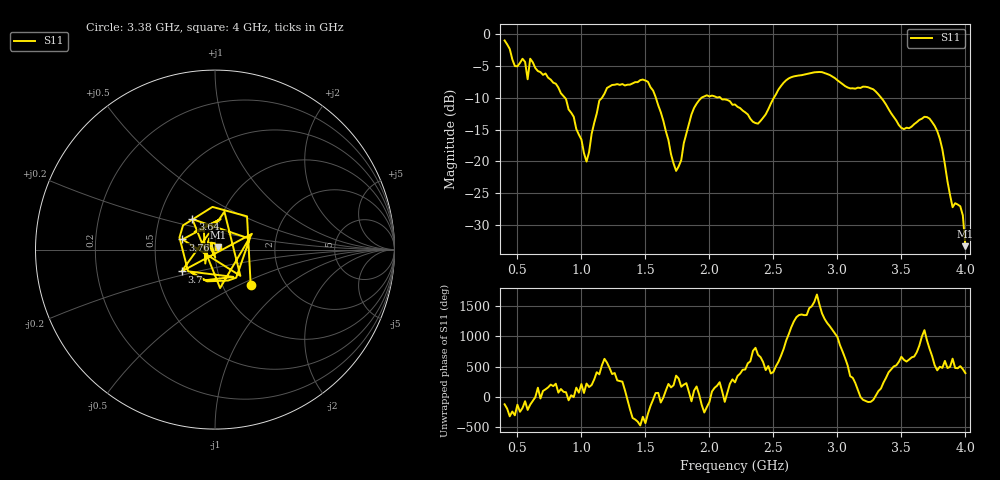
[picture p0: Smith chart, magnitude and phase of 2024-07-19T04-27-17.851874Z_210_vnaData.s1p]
!Created with skrf (http://scikit-rf.org).
# Hz S RI R 50.0
!freq ReS11 ImS11
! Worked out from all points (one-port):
!   181 points, 400 MHz to 4 GHz, reference 50 ohm
!   lowest |S11| = -33.3 dB at 4 GHz (marker M1), VSWR 1.04, Z = 51.8 + j1.23 ohm
!   |S11| at or under -10 dB: 1.581 GHz to 1.939 GHz (358.1 MHz wide, 20.3 % of centre); 2.085 GHz to 2.505 GHz (419.7 MHz wide, 18.3 % of centre); 3.341 GHz to end of sweep (the widest 3 of 4)
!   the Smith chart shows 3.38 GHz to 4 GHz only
!   S11 on the Smith chart (normalised r, x): 3.38 GHz: 1.36, -0.58; 3.64 GHz: 0.74, +0.26; 3.7 GHz: 0.67, -0.17; 3.76 GHz: 0.69, +0.08; 4 GHz: 1.04, +0.02
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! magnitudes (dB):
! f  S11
! 400 MHz  -1.1
! 480 MHz  -5.1
! 560 MHz  -4.4
! 580 MHz  -7.1
! 600 MHz  -3.9
! 860 MHz  -9.8
! 1.04 GHz  -20.0
! 1.14 GHz  -10.5
! 1.3 GHz  -8.0
! 1.52 GHz  -7.5
! 1.74 GHz  -21.5
! 1.76 GHz  -20.8
! 1.86 GHz  -12.6
! 1.92 GHz  -10.4
! 2.2 GHz  -11.1
! 2.38 GHz  -14.1
! 2.66 GHz  -6.7
! 2.88 GHz  -6.0
! 3.1 GHz  -8.6
! 3.38 GHz  -11.1
! 3.56 GHz  -14.8
! 3.64 GHz  -13.5
! 3.7 GHz  -13.1
! 3.76 GHz  -14.4
! 3.82 GHz  -18.1
! 3.9 GHz  -27.2
! 3.98 GHz  -28.4
! 4 GHz  -33.3
